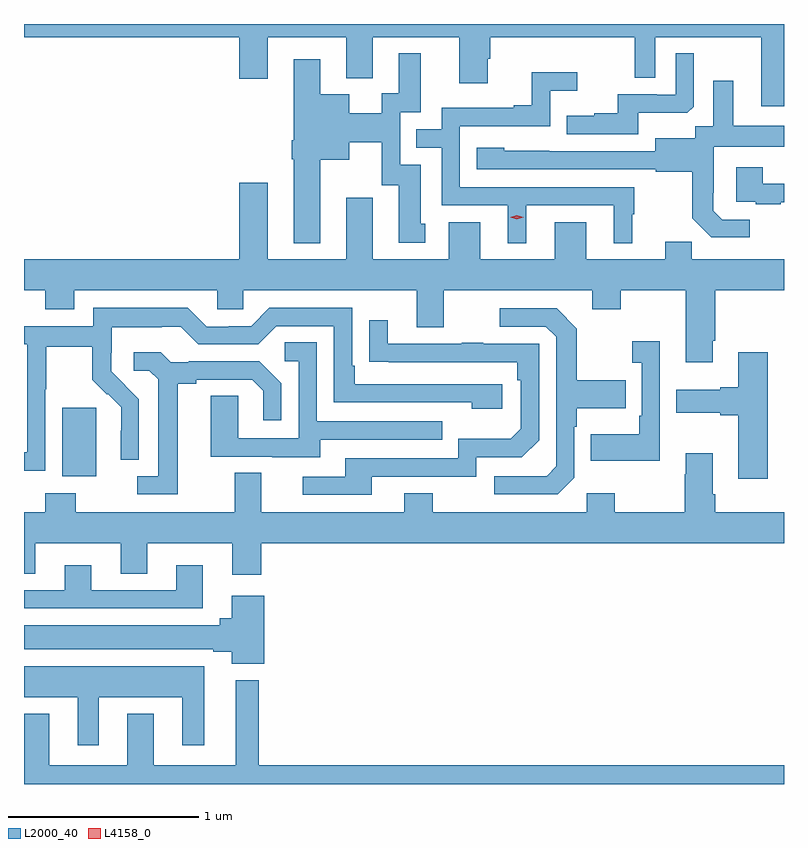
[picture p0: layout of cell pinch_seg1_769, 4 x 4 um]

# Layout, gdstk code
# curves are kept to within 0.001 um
import gdstk
lib = gdstk.Library(unit=1e-6, precision=1e-09)
def R(c, l, rs):  # rectangles x0, y0, x1, y1
    for r in rs: c.add(gdstk.rectangle(r[:2], r[2:], *l))
def P(c, l, *ps):  # polygons
    for p in ps: c.add(gdstk.Polygon(p, *l))
L2000_40 = (2000, 40)
L4158_0 = (4158, 0)

pinch_seg1_769 = lib.new_cell('pinch_seg1_769')
R(pinch_seg1_769, L2000_40, [(609.323,574.73,609.502,575.091)])
P(pinch_seg1_769, L2000_40, [(613.121,577.11),(609.121,577.11),(609.121,577.04),(610.253,577.04),(610.253,576.822),(610.405,576.822),(610.405,577.04),(610.817,577.04),(610.817,576.824),(610.957,576.824),(610.957,577.04),(611.411,577.04),(611.411,576.798),(611.563,576.798),(611.563,576.927),(611.576,576.927),(611.576,577.04),(612.336,577.04),(612.336,576.826),(612.444,576.826),(612.444,577.04),(613.001,577.04),(613.001,576.678),(613.121,576.678)],
  [(612.355,576.644),(612.613,576.644),(612.645,576.675),(612.645,576.955),(612.552,576.955),(612.552,576.738),(612.452,576.738),(612.452,576.741),(612.245,576.741),(612.245,576.64),(612.121,576.64),(612.121,576.628),(611.977,576.628),(611.977,576.531),(612.355,576.531)],
  [(610.681,576.395),(610.834,576.395),(610.834,576.488),(611.004,576.488),(611.004,576.261),(611.093,576.261),(611.093,575.958),(611.233,575.958),(611.233,576.06),(611.209,576.06),(611.209,576.369),(611.1,576.369),(611.1,576.645),(611.209,576.645),(611.209,576.955),(611.093,576.955),(611.093,576.746),(611.003,576.746),(611.003,576.64),(610.834,576.64),(610.834,576.739),(610.681,576.739),(610.681,576.925),(610.541,576.925),(610.541,576.499),(610.529,576.499),(610.529,576.399),(610.541,576.399),(610.541,575.957),(610.681,575.957)],
  [(611.764,576.156),(612.224,576.156),(612.224,575.957),(612.322,575.957),(612.322,576.108),(612.334,576.108),(612.334,576.252),(611.415,576.252),(611.415,576.573),(611.892,576.573),(611.892,576.758),(612.034,576.758),(612.034,576.857),(611.794,576.857),(611.794,576.682),(611.699,576.682),(611.699,576.669),(611.319,576.669),(611.319,576.555),(611.185,576.555),(611.185,576.459),(611.319,576.459),(611.319,576.156),(611.666,576.156),(611.666,575.957),(611.764,575.957)],
  [(612.94,576.081),(612.795,576.081),(612.748,576.128),(612.748,576.223),(612.75,576.223),(612.75,576.464),(613.121,576.464),(613.121,576.574),(612.853,576.574),(612.853,576.811),(612.749,576.811),(612.749,576.572),(612.654,576.572),(612.654,576.508),(612.443,576.508),(612.443,576.441),(611.649,576.442),(611.649,576.46),(611.505,576.46),(611.505,576.345),(612.447,576.345),(612.447,576.333),(612.639,576.333),(612.639,576.087),(612.739,575.987),(612.94,575.987)],
  [(613.105,576.173),(613.121,576.173),(613.121,576.27),(613.009,576.27),(613.009,576.355),(612.869,576.355),(612.869,576.174),(612.973,576.174),(612.973,576.162),(613.105,576.162)],
  [(609.121,575.708),(609.233,575.708),(609.233,575.609),(609.385,575.609),(609.385,575.708),(610.137,575.708),(610.137,575.61),(610.275,575.61),(610.275,575.708),(611.189,575.708),(611.189,575.514),(611.329,575.514),(611.329,575.708),(612.113,575.708),(612.113,575.609),(612.261,575.609),(612.261,575.708),(612.605,575.708),(612.605,575.331),(612.745,575.331),(612.745,575.443),(612.758,575.443),(612.758,575.708),(613.121,575.708),(613.121,575.872),(612.635,575.872),(612.635,575.963),(612.497,575.963),(612.497,575.872),(612.079,575.872),(612.079,576.067),(611.915,576.067),(611.915,575.872),(611.521,575.872),(611.521,576.067),(611.357,576.067),(611.357,575.872),(610.957,575.872),(610.957,576.196),(610.817,576.196),(610.817,575.872),(610.405,575.872),(610.405,576.274),(610.253,576.274),(610.253,575.872),(609.121,575.872)],
  [(609.234,575.188),(609.237,575.188),(609.237,575.412),(609.481,575.412),(609.481,575.237),(609.558,575.16),(609.561,575.163),(609.632,575.093),(609.632,574.97),(609.63,574.97),(609.63,574.816),(609.726,574.816),(609.726,575.134),(609.58,575.282),(609.58,575.379),(609.582,575.379),(609.582,575.513),(609.845,575.513),(609.845,575.517),(609.945,575.517),(610.038,575.424),(610.353,575.424),(610.449,575.52),(610.752,575.52),(610.752,575.118),(611.477,575.118),(611.477,575.084),(611.638,575.084),(611.638,575.214),(610.861,575.214),(610.861,575.311),(610.848,575.311),(610.848,575.616),(610.413,575.616),(610.317,575.52),(610.199,575.52),(610.199,575.517),(610.083,575.517),(609.983,575.617),(609.486,575.617),(609.486,575.52),(609.121,575.52),(609.121,575.424),(609.138,575.424),(609.138,574.857),(609.121,574.857),(609.121,574.759),(609.234,574.759)],
  [(612.018,574.722),(612.018,574.991),(612.031,574.991),(612.031,575.087),(612.287,575.087),(612.287,575.235),(612.031,575.235),(612.031,575.507),(611.925,575.613),(611.625,575.613),(611.625,575.517),(611.868,575.517),(611.922,575.463),(611.922,574.782),(611.871,574.731),(611.595,574.731),(611.595,574.635),(611.931,574.635)],
  [(610.951,574.728),(611.502,574.728),(611.502,574.83),(611.742,574.83),(611.832,574.92),(611.832,575.427),(611.537,575.427),(611.537,575.432),(611.425,575.432),(611.425,575.427),(611.035,575.427),(611.035,575.551),(610.939,575.551),(610.939,575.332),(611.716,575.331),(611.716,575.234),(611.736,575.234),(611.736,574.98),(611.683,574.927),(611.406,574.927),(611.406,574.824),(610.811,574.824),(610.811,574.728),(610.587,574.728),(610.587,574.632),(610.951,574.632)],
  [(612.468,575.44),(612.321,575.44),(612.321,575.327),(612.372,575.327),(612.372,575.047),(612.36,575.047),(612.36,574.951),(612.103,574.951),(612.103,574.811),(612.468,574.811)],
  [(610.681,574.923),(611.321,574.923),(611.321,575.019),(610.662,575.019),(610.662,575.435),(610.494,575.435),(610.494,575.334),(610.566,575.334),(610.566,574.929),(610.248,574.929),(610.248,575.153),(610.103,575.153),(610.103,574.833),(610.427,574.833),(610.427,574.829),(610.681,574.829)],
  [(609.931,575.216),(610.027,575.216),(610.027,575.238),(610.322,575.238),(610.379,575.181),(610.379,575.025),(610.476,575.025),(610.476,575.218),(610.36,575.334),(609.988,575.334),(609.988,575.331),(609.894,575.331),(609.842,575.383),(609.699,575.383),(609.699,575.286),(609.78,575.286),(609.827,575.239),(609.827,574.731),(609.717,574.731),(609.717,574.635),(609.931,574.635)],
  [(613.036,575.383),(612.881,575.383),(612.881,575.198),(612.785,575.198),(612.785,575.185),(612.555,575.185),(612.555,575.063),(612.785,575.063),(612.785,575.051),(612.881,575.051),(612.881,574.716),(613.036,574.716)],
  [(610.37,574.376),(613.121,574.376),(613.121,574.54),(612.758,574.54),(612.758,574.636),(612.745,574.636),(612.745,574.852),(612.605,574.852),(612.605,574.739),(612.598,574.739),(612.598,574.54),(612.231,574.54),(612.231,574.639),(612.084,574.639),(612.084,574.54),(611.271,574.54),(611.271,574.639),(611.123,574.639),(611.123,574.54),(610.369,574.54),(610.369,574.748),(610.229,574.748),(610.229,574.54),(609.393,574.54),(609.393,574.639),(609.233,574.639),(609.233,574.54),(609.121,574.54),(609.121,574.216),(609.181,574.216),(609.181,574.376),(609.629,574.376),(609.629,574.216),(609.769,574.216),(609.769,574.376),(610.217,574.376),(610.217,574.212),(610.37,574.212)],
  [(610.063,574.261),(609.923,574.261),(609.923,574.131),(609.475,574.131),(609.475,574.261),(609.335,574.261),(609.335,574.131),(609.121,574.131),(609.121,574.035),(610.063,574.035)],
  [(610.385,574.102),(610.214,574.102),(610.214,573.982),(610.151,573.982),(610.151,573.946),(609.121,573.946),(609.121,573.818),(610.118,573.818),(610.118,573.806),(610.214,573.806),(610.214,573.742),(610.385,573.742)],
  [(609.514,573.566),(609.953,573.566),(609.953,573.315),(610.069,573.315),(610.069,573.73),(609.121,573.73),(609.121,573.566),(609.404,573.566),(609.404,573.315),(609.514,573.315)],
  [(613.121,573.208),(610.357,573.208),(610.357,573.657),(610.235,573.657),(610.235,573.208),(609.805,573.208),(609.805,573.481),(609.665,573.481),(609.665,573.208),(609.253,573.208),(609.253,573.481),(609.121,573.481),(609.121,573.11),(613.121,573.11)])
P(pinch_seg1_769, L4158_0, [(611.715,576.083),(611.679,576.094),(611.679,576.094),(611.679,576.094),(611.715,576.103),(611.751,576.092),(611.751,576.092),(611.751,576.092)])

lib.write_gds('pinch_seg1_769.gds')
